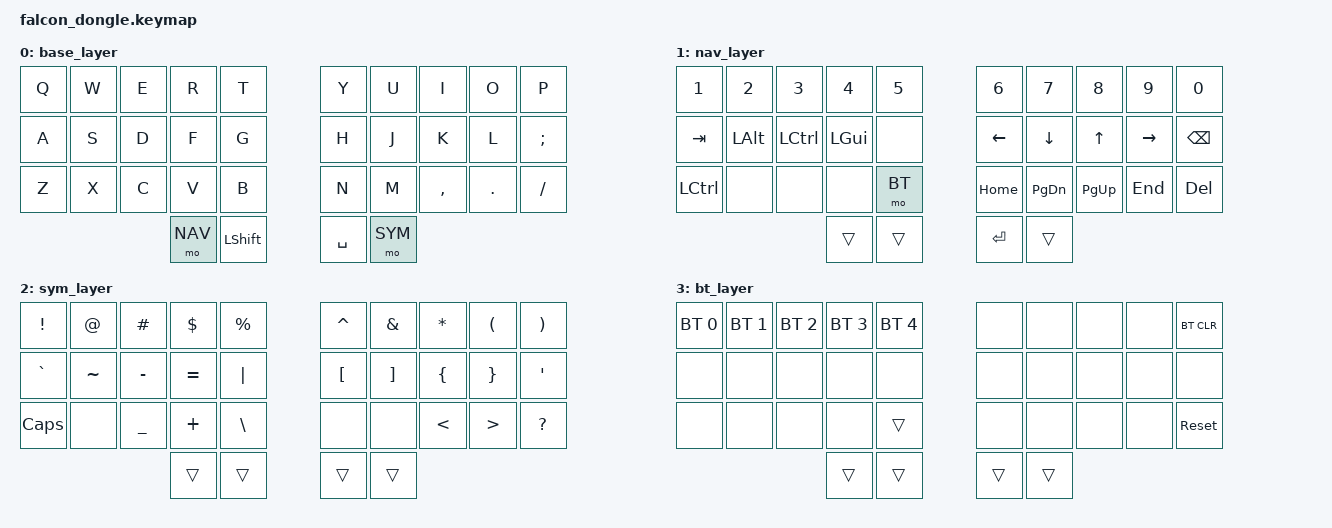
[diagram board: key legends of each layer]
/*
 * Falcon Keymap
 *
 * 34 keys total: 17 per half
 *   - 3 rows × 5 cols  = 15 main keys per half
 *   - 1 thumb row, inner 2 cols = 2 thumb keys per half
 *
 * Physical layout (L = left half, R = right half):
 *
 *  ┌─────┬─────┬─────┬─────┬─────┐   ┌─────┬─────┬─────┬─────┬─────┐
 *  │ L00 │ L01 │ L02 │ L03 │ L04 │   │ R00 │ R01 │ R02 │ R03 │ R04 │
 *  ├─────┼─────┼─────┼─────┼─────┤   ├─────┼─────┼─────┼─────┼─────┤
 *  │ L10 │ L11 │ L12 │ L13 │ L14 │   │ R10 │ R11 │ R12 │ R13 │ R14 │
 *  ├─────┼─────┼─────┼─────┼─────┤   ├─────┼─────┼─────┼─────┼─────┤
 *  │ L20 │ L21 │ L22 │ L23 │ L24 │   │ R20 │ R21 │ R22 │ R23 │ R24 │
 *  └─────┴─────┴─────┴─────┼─────┤   ├─────┼─────┴─────┴─────┴─────┘
 *                           │ L33 │   │ R33 │
 *                           ├─────┤   ├─────┤
 *                           │ L34 │   │ R34 │
 *                           └─────┘   └─────┘
 *
 * ZMK key ordering (left half keys first, then right half):
 *   L00 L01 L02 L03 L04  R00 R01 R02 R03 R04
 *   L10 L11 L12 L13 L14  R10 R11 R12 R13 R14
 *   L20 L21 L22 L23 L24  R20 R21 R22 R23 R24
 *                   L33 L34  R33 R34
 */

#include <behaviors.dtsi>
#include <dt-bindings/zmk/keys.h>
#include <dt-bindings/zmk/bt.h>
#include <dt-bindings/zmk/pointing.h>

#define BASE 0
#define NAV  1
#define SYM  2
#define BT   3

/ {
    keymap {
        compatible = "zmk,keymap";

        /* ── Layer 0: QWERTY ─────────────────────────────────────────── */
        base_layer {
            bindings = <
        /*  col0        col1        col2        col3        col4            col0        col1        col2        col3        col4   */
            &kp Q       &kp W       &kp E       &kp R       &kp T           &kp Y       &kp U       &kp I       &kp O       &kp P
            &kp A       &kp S       &kp D       &kp F       &kp G           &kp H       &kp J       &kp K       &kp L       &kp SEMI
            &kp Z       &kp X       &kp C       &kp V       &kp B           &kp N       &kp M       &kp COMMA   &kp DOT     &kp FSLH
        /*                                      thumb inner                thumb inner                                           */
                                                &mo NAV     &kp LSHFT       &kp SPACE   &mo SYM
            >;
        };

        /* ── Layer 1: Navigation / Numbers ──────────────────────────── */
        nav_layer {
            bindings = <
            &kp N1      &kp N2      &kp N3      &kp N4      &kp N5          &kp N6      &kp N7      &kp N8      &kp N9      &kp N0
            &kp TAB     &kp LALT    &kp LCTRL   &kp LGUI    &none           &kp LEFT    &kp DOWN    &kp UP      &kp RIGHT   &kp BSPC
            &kp LCTRL   &none       &none       &none       &mo BT          &kp HOME    &kp PG_DN   &kp PG_UP   &kp END     &kp DEL
                                                &trans      &trans           &kp RET    &trans
            >;
        };

        /* ── Layer 2: Symbols ────────────────────────────────────────── */
        sym_layer {
            bindings = <
            &kp EXCL    &kp AT      &kp HASH    &kp DLLR    &kp PRCNT       &kp CARET   &kp AMPS    &kp ASTRK   &kp LPAR    &kp RPAR
            &kp GRAVE   &kp TILDE   &kp MINUS   &kp EQUAL   &kp PIPE        &kp LBKT    &kp RBKT    &kp LBRC    &kp RBRC    &kp APOS
            &kp CAPS    &none       &kp UNDER   &kp PLUS    &kp BSLH        &none       &none       &kp LT      &kp GT      &kp QMARK
                                                &trans      &trans           &trans      &trans
            >;
        };

        /* ── Layer 3: Bluetooth ──────────────────────────────────────── */
        bt_layer {
            bindings = <
            &bt BT_SEL 0 &bt BT_SEL 1 &bt BT_SEL 2 &bt BT_SEL 3 &bt BT_SEL 4   &none  &none  &none  &none  &bt BT_CLR
            &none        &none        &none        &none        &none             &none  &none  &none  &none  &none
            &none        &none        &none        &none        &trans            &none  &none  &none  &none  &sys_reset
                                                   &trans       &trans            &trans &trans
            >;
        };
    };
};
